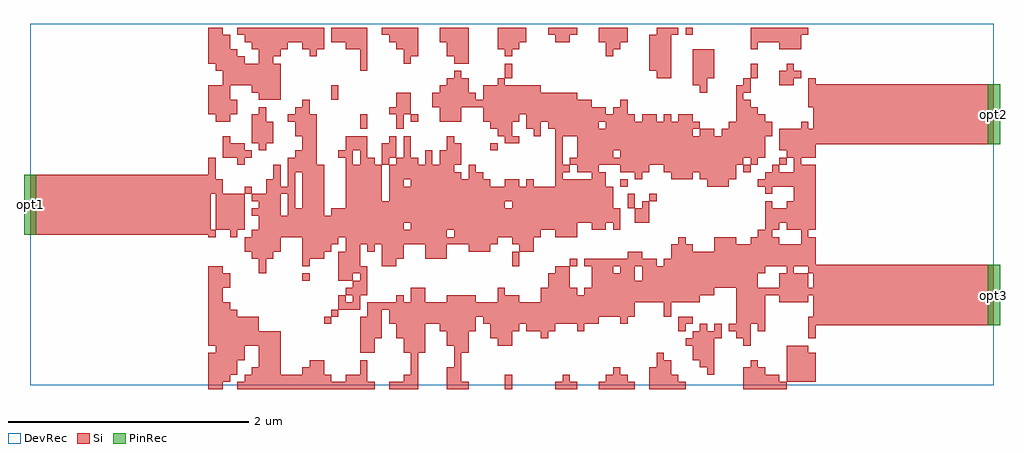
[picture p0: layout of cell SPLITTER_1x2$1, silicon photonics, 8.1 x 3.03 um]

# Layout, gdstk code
import gdstk
lib = gdstk.Library(unit=1e-6, precision=1e-09)
def R(c, l, rs):  # rectangles x0, y0, x1, y1
    for r in rs: c.add(gdstk.rectangle(r[:2], r[2:], *l))
def A(c, l, x, y, w, h, nx, ny, dx, dy):  # array of equal rectangles
    R(c, l, [(x+i*dx, y+j*dy, x+i*dx+w, y+j*dy+h) for i in range(nx) for j in range(ny)])
Si = (1, 0)
PinRec = (1, 10)
DevRec = (68, 0)

splitter_1x2_1 = lib.new_cell('SPLITTER_1x2$1')
A(splitter_1x2_1, Si, -2.28, -1.53, 0.06, 0.06, 19, 1, 0.06, 0)
A(splitter_1x2_1, Si, -1.02, -1.53, 0.06, 0.06, 4, 2, 0.06, 2.88)
A(splitter_1x2_1, Si, -0.54, -1.53, 0.06, 0.06, 3, 2, 0.06, 0.36)
A(splitter_1x2_1, Si, 0.36, -1.53, 0.06, 0.06, 3, 2, 0.06, 1.26)
A(splitter_1x2_1, Si, 0.72, -1.53, 0.06, 0.06, 5, 1, 0.06, 0)
A(splitter_1x2_1, Si, 1.14, -1.53, 0.06, 0.06, 5, 1, 0.06, 0)
A(splitter_1x2_1, Si, 1.92, -1.53, 0.06, 0.06, 6, 1, 0.06, 0)
A(splitter_1x2_1, Si, -2.52, -1.47, 0.06, 0.06, 3, 2, 0.06, 0.6)
A(splitter_1x2_1, Si, -2.22, -1.47, 0.06, 0.06, 12, 1, 0.06, 0)
A(splitter_1x2_1, Si, -1.38, -1.47, 0.06, 0.06, 3, 2, 0.06, 0.72)
A(splitter_1x2_1, Si, -0.84, -1.47, 0.06, 0.06, 1, 4, 0, 0.06)
A(splitter_1x2_1, Si, -0.48, -1.47, 0.06, 0.06, 1, 5, 0, 0.06)
A(splitter_1x2_1, Si, 0.78, -1.47, 0.06, 0.06, 3, 1, 0.06, 0)
A(splitter_1x2_1, Si, 1.14, -1.47, 0.06, 0.06, 4, 1, 0.06, 0)
A(splitter_1x2_1, Si, 1.92, -1.47, 0.06, 0.06, 5, 1, 0.06, 0)
A(splitter_1x2_1, Si, 2.28, -1.47, 0.06, 0.06, 4, 4, 0.06, 0.06)
A(splitter_1x2_1, Si, -2.52, -1.41, 0.06, 0.06, 4, 2, 0.06, 0.06)
A(splitter_1x2_1, Si, -2.16, -1.41, 0.06, 0.06, 4, 2, 0.06, 1.32)
A(splitter_1x2_1, Si, -1.74, -1.41, 0.06, 0.06, 3, 2, 0.06, 0.96)
A(splitter_1x2_1, Si, 1.14, -1.41, 0.06, 0.06, 3, 2, 0.06, 2.58)
A(splitter_1x2_1, Si, 1.92, -1.41, 0.06, 0.06, 3, 1, 0.06, 0)
A(splitter_1x2_1, Si, -2.1, -1.35, 0.06, 0.06, 3, 3, 0.06, 0.06)
A(splitter_1x2_1, Si, -2.52, -1.29, 0.06, 0.06, 5, 2, 0.06, 2.46)
A(splitter_1x2_1, Si, 1.5, -1.29, 0.06, 0.06, 3, 2, 0.06, 0.06)
A(splitter_1x2_1, Si, -2.46, -1.23, 0.06, 0.06, 4, 2, 0.06, 1.02)
A(splitter_1x2_1, Si, -0.9, -1.23, 0.06, 0.06, 3, 2, 0.06, 0.06)
A(splitter_1x2_1, Si, 2.28, -1.23, 0.06, 0.06, 3, 1, 0.06, 0)
A(splitter_1x2_1, Si, -2.52, -1.17, 0.06, 0.06, 10, 2, 0.06, 0.06)
A(splitter_1x2_1, Si, 1.44, -1.17, 0.06, 0.06, 4, 1, 0.06, 0)
A(splitter_1x2_1, Si, 1.92, -1.17, 0.06, 0.06, 1, 3, 0, 0.06)
A(splitter_1x2_1, Si, -1.26, -1.11, 0.06, 0.06, 3, 3, 0.06, 0.06)
A(splitter_1x2_1, Si, -0.96, -1.11, 0.06, 0.06, 4, 2, 0.06, 0.06)
A(splitter_1x2_1, Si, -0.54, -1.11, 0.06, 0.06, 3, 2, 0.06, 2.1)
A(splitter_1x2_1, Si, -0.18, -1.11, 0.06, 0.06, 3, 2, 0.06, 1.74)
A(splitter_1x2_1, Si, 1.5, -1.11, 0.06, 0.06, 4, 1, 0.06, 0)
A(splitter_1x2_1, Si, 2.46, -1.11, 0.06, 0.06, 1, 3, 0, 0.06)
A(splitter_1x2_1, Si, -2.52, -1.05, 0.06, 0.06, 7, 2, 0.06, 0.06)
A(splitter_1x2_1, Si, -0.6, -1.05, 0.06, 0.06, 5, 1, 0.06, 0)
A(splitter_1x2_1, Si, -0.18, -1.05, 0.06, 0.06, 4, 1, 0.06, 0)
A(splitter_1x2_1, Si, 0.12, -1.05, 0.06, 0.06, 4, 1, 0.06, 0)
A(splitter_1x2_1, Si, 1.56, -1.05, 0.06, 0.06, 3, 1, 0.12, 0)
A(splitter_1x2_1, Si, -1.02, -0.99, 0.06, 0.06, 12, 1, 0.06, 0)
A(splitter_1x2_1, Si, -0.24, -0.99, 0.06, 0.06, 16, 1, 0.06, 0)
A(splitter_1x2_1, Si, 1.86, -0.99, 0.06, 0.06, 4, 4, 0.06, 0.06)
A(splitter_1x2_1, Si, -2.52, -0.93, 0.06, 0.06, 4, 2, 0.06, 1.68)
A(splitter_1x2_1, Si, -1.02, -0.93, 0.06, 0.06, 34, 1, 0.06, 0)
A(splitter_1x2_1, Si, -1.44, -0.87, 0.06, 0.06, 3, 2, 0.06, 0.36)
A(splitter_1x2_1, Si, -1.2, -0.87, 0.06, 0.06, 37, 1, 0.06, 0)
A(splitter_1x2_1, Si, -0.54, -0.81, 0.06, 0.06, 4, 1, 0.06, 0)
A(splitter_1x2_1, Si, -0.12, -0.81, 0.06, 0.06, 3, 2, 0.06, 2.1)
A(splitter_1x2_1, Si, 0.24, -0.81, 0.06, 0.06, 22, 1, 0.06, 0)
A(splitter_1x2_1, Si, 2.22, -0.81, 0.06, 0.06, 4, 2, 0.06, 0.12)
A(splitter_1x2_1, Si, 0.24, -0.75, 0.06, 0.06, 5, 1, 0.06, 0)
A(splitter_1x2_1, Si, 0.6, -0.75, 0.06, 0.06, 18, 1, 0.06, 0)
A(splitter_1x2_1, Si, 1.86, -0.75, 0.06, 0.06, 11, 1, 0.06, 0)
A(splitter_1x2_1, Si, -2.52, -0.69, 0.06, 0.06, 3, 2, 0.06, 0.06)
A(splitter_1x2_1, Si, 0.3, -0.69, 0.06, 0.06, 3, 2, 0.06, 0.06)
A(splitter_1x2_1, Si, 0.66, -0.69, 0.06, 0.06, 23, 1, 0.06, 0)
A(splitter_1x2_1, Si, 0.66, -0.63, 0.06, 0.06, 6, 1, 0.06, 0)
A(splitter_1x2_1, Si, 1.08, -0.63, 0.06, 0.06, 16, 1, 0.06, 0)
A(splitter_1x2_1, Si, 2.22, -0.63, 0.06, 0.06, 4, 1, 0.06, 0)
A(splitter_1x2_1, Si, -1.44, -0.57, 0.06, 0.06, 4, 1, 0.06, 0)
A(splitter_1x2_1, Si, 0.66, -0.57, 0.06, 0.06, 3, 1, 0.06, 0)
A(splitter_1x2_1, Si, 1.08, -0.57, 0.06, 0.06, 17, 1, 0.06, 0)
A(splitter_1x2_1, Si, 0.6, -0.51, 0.06, 0.06, 10, 1, 0.06, 0)
A(splitter_1x2_1, Si, 1.26, -0.51, 0.06, 0.06, 21, 1, 0.06, 0)
A(splitter_1x2_1, Si, -2.16, -0.45, 0.06, 0.06, 3, 2, 0.06, 0.96)
A(splitter_1x2_1, Si, -1.44, -0.45, 0.06, 0.06, 3, 1, 0.06, 0)
A(splitter_1x2_1, Si, -1.08, -0.45, 0.06, 0.06, 3, 1, 0.06, 0)
A(splitter_1x2_1, Si, -0.72, -0.45, 0.06, 0.06, 3, 2, 0.06, 0.06)
A(splitter_1x2_1, Si, 1.32, -0.45, 0.06, 0.06, 20, 1, 0.06, 0)
A(splitter_1x2_1, Si, -2.22, -0.39, 0.06, 0.06, 5, 2, 0.06, 0.06)
A(splitter_1x2_1, Si, -1.74, -0.39, 0.06, 0.06, 4, 1, 0.06, 0)
A(splitter_1x2_1, Si, -1.32, -0.39, 0.06, 0.06, 3, 1, 0.12, 0)
A(splitter_1x2_1, Si, -0.36, -0.39, 0.06, 0.06, 3, 1, 0.06, 0)
A(splitter_1x2_1, Si, 1.32, -0.39, 0.06, 0.06, 3, 1, 0.06, 0)
A(splitter_1x2_1, Si, 1.68, -0.39, 0.06, 0.06, 14, 1, 0.06, 0)
A(splitter_1x2_1, Si, -1.74, -0.33, 0.06, 0.06, 5, 1, 0.06, 0)
A(splitter_1x2_1, Si, -1.38, -0.33, 0.06, 0.06, 21, 1, 0.06, 0)
A(splitter_1x2_1, Si, 0, -0.33, 0.06, 0.06, 3, 1, 0.06, 0)
A(splitter_1x2_1, Si, 1.68, -0.33, 0.06, 0.06, 3, 1, 0.06, 0)
A(splitter_1x2_1, Si, 1.98, -0.33, 0.06, 0.06, 4, 1, 0.06, 0)
A(splitter_1x2_1, Si, -2.52, -0.27, 0.06, 0.06, 3, 1, 0.18, 0)
A(splitter_1x2_1, Si, -2.1, -0.27, 0.06, 0.06, 26, 1, 0.06, 0)
A(splitter_1x2_1, Si, -0.48, -0.27, 0.06, 0.06, 12, 1, 0.06, 0)
A(splitter_1x2_1, Si, -2.1, -0.21, 0.06, 0.06, 20, 1, 0.06, 0)
A(splitter_1x2_1, Si, -0.84, -0.21, 0.06, 0.06, 23, 1, 0.06, 0)
A(splitter_1x2_1, Si, 2.28, -0.21, 0.06, 0.06, 4, 2, 0.06, 0.18)
A(splitter_1x2_1, Si, -2.46, -0.15, 0.06, 0.06, 4, 4, 0.06, 0.06)
A(splitter_1x2_1, Si, -2.1, -0.15, 0.06, 0.06, 50, 1, 0.06, 0)
A(splitter_1x2_1, Si, 1.08, -0.15, 0.06, 0.06, 1, 3, 0, 0.06)
A(splitter_1x2_1, Si, 2.1, -0.15, 0.06, 0.06, 7, 2, 0.06, 0.06)
A(splitter_1x2_1, Si, -1.86, -0.09, 0.06, 0.06, 5, 2, 0.06, 0.36)
A(splitter_1x2_1, Si, -1.5, -0.09, 0.06, 0.06, 40, 1, 0.06, 0)
A(splitter_1x2_1, Si, -2.1, -0.03, 0.06, 0.06, 3, 2, 0.06, 0.9)
A(splitter_1x2_1, Si, -1.74, -0.03, 0.06, 0.06, 3, 3, 0.06, 0.06)
A(splitter_1x2_1, Si, -1.38, -0.03, 0.06, 0.06, 22, 1, 0.06, 0)
A(splitter_1x2_1, Si, 0, -0.03, 0.06, 0.06, 14, 1, 0.06, 0)
A(splitter_1x2_1, Si, -2.16, 0.03, 0.06, 0.06, 4, 2, 0.06, 0.9)
A(splitter_1x2_1, Si, -1.38, 0.03, 0.06, 0.06, 5, 5, 0.06, 0.06)
A(splitter_1x2_1, Si, -1.02, 0.03, 0.06, 0.06, 31, 2, 0.06, 0.06)
A(splitter_1x2_1, Si, 2.34, 0.03, 0.06, 0.06, 3, 2, 0.06, 0.06)
A(splitter_1x2_1, Si, -2.52, 0.09, 0.06, 0.06, 1, 5, 0, 0.06)
A(splitter_1x2_1, Si, -2.04, 0.09, 0.06, 0.06, 4, 1, 0.06, 0)
A(splitter_1x2_1, Si, -1.98, 0.15, 0.06, 0.06, 3, 2, 0.12, 0.06)
A(splitter_1x2_1, Si, -0.84, 0.15, 0.06, 0.06, 11, 1, 0.06, 0)
A(splitter_1x2_1, Si, 0.36, 0.15, 0.06, 0.06, 7, 1, 0.06, 0)
A(splitter_1x2_1, Si, 1.62, 0.15, 0.06, 0.06, 3, 1, 0.06, 0)
A(splitter_1x2_1, Si, 2.04, 0.15, 0.06, 0.06, 8, 1, 0.06, 0)
A(splitter_1x2_1, Si, -1.02, 0.21, 0.06, 0.06, 10, 1, 0.06, 0)
A(splitter_1x2_1, Si, 0.36, 0.21, 0.06, 0.06, 1, 6, 0, 0.06)
A(splitter_1x2_1, Si, 0.72, 0.21, 0.06, 0.06, 3, 1, 0.3, 0)
A(splitter_1x2_1, Si, 1.56, 0.21, 0.06, 0.06, 5, 1, 0.06, 0)
A(splitter_1x2_1, Si, 2.1, 0.21, 0.06, 0.06, 7, 1, 0.06, 0)
A(splitter_1x2_1, Si, -1.02, 0.27, 0.06, 0.06, 9, 1, 0.06, 0)
A(splitter_1x2_1, Si, 0.54, 0.27, 0.06, 0.06, 3, 1, 0.06, 0)
A(splitter_1x2_1, Si, 0.9, 0.27, 0.06, 0.06, 4, 1, 0.06, 0)
A(splitter_1x2_1, Si, 1.26, 0.27, 0.06, 0.06, 10, 1, 0.06, 0)
A(splitter_1x2_1, Si, 2.34, 0.27, 0.06, 0.06, 3, 1, 0.06, 0)
A(splitter_1x2_1, Si, -1.86, 0.33, 0.06, 0.06, 4, 2, 0.06, 0.36)
A(splitter_1x2_1, Si, -1.2, 0.33, 0.06, 0.06, 3, 1, 0.12, 0)
A(splitter_1x2_1, Si, -0.9, 0.33, 0.06, 0.06, 1, 4, 0, 0.06)
A(splitter_1x2_1, Si, -0.84, 0.33, 0.06, 0.06, 3, 1, 0.12, 0)
A(splitter_1x2_1, Si, 0.48, 0.33, 0.06, 0.06, 24, 1, 0.06, 0)
A(splitter_1x2_1, Si, -2.4, 0.39, 0.06, 0.06, 4, 1, 0.06, 0)
A(splitter_1x2_1, Si, -1.8, 0.39, 0.06, 0.06, 3, 2, 0.06, 0.18)
A(splitter_1x2_1, Si, -1.02, 0.39, 0.06, 0.06, 1, 3, 0, 0.06)
A(splitter_1x2_1, Si, -0.6, 0.39, 0.06, 0.06, 3, 2, 0.06, 0.3)
A(splitter_1x2_1, Si, 0.54, 0.39, 0.06, 0.06, 5, 1, 0.06, 0)
A(splitter_1x2_1, Si, 0.9, 0.39, 0.06, 0.06, 20, 1, 0.06, 0)
A(splitter_1x2_1, Si, 2.28, 0.39, 0.06, 0.06, 4, 1, 0.06, 0)
A(splitter_1x2_1, Si, -2.4, 0.45, 0.06, 0.06, 3, 1, 0.06, 0)
A(splitter_1x2_1, Si, -1.38, 0.45, 0.06, 0.06, 3, 2, 0.06, 0.06)
A(splitter_1x2_1, Si, 0.54, 0.45, 0.06, 0.06, 26, 2, 0.06, 0.06)
A(splitter_1x2_1, Si, 2.22, 0.45, 0.06, 0.06, 5, 3, 0.06, 0.06)
A(splitter_1x2_1, Si, -2.16, 0.57, 0.06, 0.06, 3, 2, 0.06, 0.06)
A(splitter_1x2_1, Si, 0.36, 0.57, 0.06, 0.06, 19, 1, 0.06, 0)
A(splitter_1x2_1, Si, 1.74, 0.57, 0.06, 0.06, 7, 1, 0.06, 0)
A(splitter_1x2_1, Si, -1.8, 0.63, 0.06, 0.06, 3, 1, 0.06, 0)
A(splitter_1x2_1, Si, 0.3, 0.63, 0.06, 0.06, 7, 1, 0.06, 0)
A(splitter_1x2_1, Si, 0.78, 0.63, 0.06, 0.06, 13, 1, 0.06, 0)
A(splitter_1x2_1, Si, 1.8, 0.63, 0.06, 0.06, 6, 1, 0.06, 0)
A(splitter_1x2_1, Si, -0.24, 0.69, 0.06, 0.06, 5, 1, 0.06, 0)
A(splitter_1x2_1, Si, 0.12, 0.69, 0.06, 0.06, 15, 1, 0.06, 0)
A(splitter_1x2_1, Si, 1.14, 0.69, 0.06, 0.06, 3, 1, 0.12, 0)
A(splitter_1x2_1, Si, 1.86, 0.69, 0.06, 0.06, 4, 1, 0.06, 0)
A(splitter_1x2_1, Si, -1.02, 0.75, 0.06, 0.06, 3, 1, 0.06, 0)
A(splitter_1x2_1, Si, -0.6, 0.75, 0.06, 0.06, 3, 1, 0.06, 0)
A(splitter_1x2_1, Si, -0.24, 0.75, 0.06, 0.06, 17, 1, 0.06, 0)
A(splitter_1x2_1, Si, 1.86, 0.75, 0.06, 0.06, 3, 1, 0.06, 0)
A(splitter_1x2_1, Si, -2.52, 0.81, 0.06, 0.06, 4, 2, 0.06, 0.42)
A(splitter_1x2_1, Si, -0.66, 0.81, 0.06, 0.06, 22, 1, 0.06, 0)
A(splitter_1x2_1, Si, 1.86, 0.81, 0.06, 0.06, 1, 3, 0, 0.06)
A(splitter_1x2_1, Si, 2.46, 0.81, 0.06, 0.06, 1, 4, 0, 0.06)
A(splitter_1x2_1, Si, -2.52, 0.87, 0.06, 0.06, 3, 2, 0.06, 0.06)
A(splitter_1x2_1, Si, -0.66, 0.87, 0.06, 0.06, 6, 1, 0.06, 0)
A(splitter_1x2_1, Si, -0.24, 0.87, 0.06, 0.06, 13, 1, 0.06, 0)
A(splitter_1x2_1, Si, -0.6, 0.93, 0.06, 0.06, 4, 2, 0.06, 0.42)
A(splitter_1x2_1, Si, -0.24, 0.93, 0.06, 0.06, 8, 1, 0.06, 0)
A(splitter_1x2_1, Si, -2.4, 0.99, 0.06, 0.06, 8, 2, 0.06, 0.06)
A(splitter_1x2_1, Si, 1.5, 1.05, 0.06, 0.06, 3, 4, 0.06, 0.06)
A(splitter_1x2_1, Si, 2.22, 1.05, 0.06, 0.06, 3, 2, 0.06, 0.24)
A(splitter_1x2_1, Si, -2.46, 1.11, 0.06, 0.06, 9, 1, 0.06, 0)
A(splitter_1x2_1, Si, -1.26, 1.11, 0.06, 0.06, 3, 1, 1.2, 0)
A(splitter_1x2_1, Si, -2.1, 1.23, 0.06, 0.06, 3, 1, 0.06, 0)
A(splitter_1x2_1, Si, -0.54, 1.23, 0.06, 0.06, 3, 2, 0.06, 0.06)
A(splitter_1x2_1, Si, 1.14, 1.23, 0.06, 0.06, 3, 3, 0.06, 0.06)
A(splitter_1x2_1, Si, -2.52, 1.29, 0.06, 0.06, 3, 2, 0.06, 0.06)
A(splitter_1x2_1, Si, -2.16, 1.29, 0.06, 0.06, 5, 1, 0.06, 0)
A(splitter_1x2_1, Si, -1.74, 1.29, 0.06, 0.06, 3, 1, 0.06, 0)
A(splitter_1x2_1, Si, -1.38, 1.29, 0.06, 0.06, 3, 1, 0.06, 0)
A(splitter_1x2_1, Si, -0.96, 1.29, 0.06, 0.06, 3, 1, 0.06, 0)
A(splitter_1x2_1, Si, -2.22, 1.35, 0.06, 0.06, 11, 1, 0.06, 0)
A(splitter_1x2_1, Si, -1.5, 1.35, 0.06, 0.06, 5, 2, 0.06, 0.06)
A(splitter_1x2_1, Si, -0.12, 1.35, 0.06, 0.06, 4, 2, 0.06, 0.06)
A(splitter_1x2_1, Si, 0.72, 1.35, 0.06, 0.06, 4, 2, 0.06, 0.06)
A(splitter_1x2_1, Si, 1.98, 1.35, 0.06, 0.06, 7, 1, 0.06, 0)
A(splitter_1x2_1, Si, -2.28, 1.41, 0.06, 0.06, 12, 1, 0.06, 0)
A(splitter_1x2_1, Si, -1.08, 1.41, 0.06, 0.06, 5, 1, 0.06, 0)
A(splitter_1x2_1, Si, -0.6, 1.41, 0.06, 0.06, 4, 1, 0.06, 0)
A(splitter_1x2_1, Si, 0.3, 1.41, 0.06, 0.06, 4, 1, 0.06, 0)
A(splitter_1x2_1, Si, 1.2, 1.41, 0.06, 0.06, 3, 1, 0.06, 0)
A(splitter_1x2_1, Si, 1.98, 1.41, 0.06, 0.06, 8, 1, 0.06, 0)
R(splitter_1x2_1, Si, [(-2.52,-1.53,-2.46,-1.47), (-2.46,-1.53,-2.4,-1.47), (-0.06,-1.53,0,-1.47), (-0.9,-1.47,-0.84,-1.41), (-0.54,-1.47,-0.48,-1.41), (-0.06,-1.47,0,-1.41), (0.42,-1.47,0.48,-1.41), (-1.26,-1.41,-1.2,-1.35), (-0.54,-1.41,-0.48,-1.35), (0.84,-1.41,0.9,-1.35), (1.62,-1.41,1.68,-1.35), (-1.68,-1.35,-1.62,-1.29), (-1.62,-1.35,-1.56,-1.29), (-1.26,-1.35,-1.2,-1.29), (1.2,-1.35,1.26,-1.29), (1.26,-1.35,1.32,-1.29), (1.56,-1.35,1.62,-1.29), (1.62,-1.35,1.68,-1.29), (1.98,-1.35,2.04,-1.29), (1.2,-1.29,1.26,-1.23), (-1.26,-1.23,-1.2,-1.17), (-1.2,-1.23,-1.14,-1.17), (-0.42,-1.23,-0.36,-1.17), (-1.26,-1.17,-1.2,-1.11), (-1.2,-1.17,-1.14,-1.11), (-0.12,-1.17,-0.06,-1.11), (-0.06,-1.17,0,-1.11), (0.24,-1.11,0.3,-1.05), (1.86,-1.11,1.92,-1.05), (0.54,-1.05,0.6,-0.99), (1.38,-1.05,1.44,-0.99), (1.86,-1.05,1.92,-0.99), (2.04,-1.05,2.1,-0.99), (2.5,-1,4,-0.5), (-1.56,-0.99,-1.5,-0.93), (0.9,-0.99,0.96,-0.93), (1.38,-0.99,1.44,-0.93), (1.44,-0.99,1.5,-0.93), (-1.5,-0.93,-1.44,-0.87), (-1.2,-0.93,-1.14,-0.87), (-1.14,-0.93,-1.08,-0.87), (1.26,-0.93,1.32,-0.87), (1.26,-0.87,1.32,-0.81), (-2.52,-0.81,-2.46,-0.75), (-2.46,-0.81,-2.4,-0.75), (-1.44,-0.81,-1.38,-0.75), (-1.32,-0.81,-1.26,-0.75), (-0.96,-0.81,-0.9,-0.75), (-0.84,-0.81,-0.78,-0.75), (-0.78,-0.81,-0.72,-0.75), (-2.52,-0.75,-2.46,-0.69), (-2.46,-0.75,-2.4,-0.69), (-0.84,-0.75,-0.78,-0.69), (-0.78,-0.75,-0.72,-0.69), (-0.12,-0.75,-0.06,-0.69), (-1.32,-0.69,-1.26,-0.63), (-1.26,-0.69,-1.2,-0.63), (-1.74,-0.63,-1.68,-0.57), (-1.44,-0.63,-1.38,-0.57), (-1.38,-0.63,-1.32,-0.57), (-1.26,-0.63,-1.2,-0.57), (-2.52,-0.57,-2.46,-0.51), (-2.46,-0.57,-2.4,-0.51), (-2.1,-0.57,-2.04,-0.51), (0.36,-0.57,0.42,-0.51), (0.42,-0.57,0.48,-0.51), (0.9,-0.57,0.96,-0.51), (0.96,-0.57,1.02,-0.51), (2.28,-0.57,2.34,-0.51), (2.46,-0.57,2.52,-0.51), (-2.1,-0.51,-2.04,-0.45), (-1.74,-0.51,-1.68,-0.45), (-1.08,-0.51,-1.02,-0.45), (-1.02,-0.51,-0.96,-0.45), (0,-0.51,0.06,-0.45), (0.48,-0.51,0.54,-0.45), (0,-0.45,0.06,-0.39), (0.96,-0.45,1.02,-0.39), (1.02,-0.45,1.08,-0.39), (-1.38,-0.39,-1.32,-0.33), (-1.02,-0.39,-0.96,-0.33), (-0.96,-0.39,-0.9,-0.33), (0.06,-0.39,0.12,-0.33), (0.12,-0.39,0.18,-0.33), (1.38,-0.33,1.44,-0.27), (2.4,-0.33,2.46,-0.27), (2.46,-0.33,2.52,-0.27), (2.04,-0.27,2.1,-0.21), (2.1,-0.27,2.16,-0.21), (2.4,-0.27,2.46,-0.21), (-4,-0.25,-2.5,0.25), (0.66,-0.21,0.72,-0.15), (0.72,-0.21,0.78,-0.15), (0.84,-0.21,0.9,-0.15), (2.1,-0.21,2.16,-0.15), (2.16,-0.21,2.22,-0.15), (1.02,-0.15,1.08,-0.09), (1.02,-0.09,1.08,-0.03), (-1.86,-0.03,-1.8,0.03), (0.96,-0.03,1.02,0.03), (2.1,-0.03,2.16,0.03), (-1.86,0.03,-1.8,0.09), (0.96,0.03,1.02,0.09), (1.14,0.03,1.2,0.09), (-2.46,0.09,-2.4,0.15), (-2.22,0.09,-2.16,0.15), (2.1,0.09,2.16,0.15), (-2.46,0.15,-2.4,0.21), (-2.04,0.15,-1.98,0.21), (-1.68,0.15,-1.62,0.21), (-1.62,0.15,-1.56,0.21), (-1.02,0.15,-0.96,0.21), (-0.96,0.15,-0.9,0.21), (-0.06,0.15,0,0.21), (0,0.15,0.06,0.21), (0.12,0.15,0.18,0.21), (0.9,0.15,0.96,0.21), (-1.68,0.21,-1.62,0.27), (-1.62,0.21,-1.56,0.27), (-0.36,0.21,-0.3,0.27), (-0.3,0.21,-0.24,0.27), (0.66,0.21,0.72,0.27), (1.38,0.21,1.44,0.27), (1.44,0.21,1.5,0.27), (-1.98,0.27,-1.92,0.33), (-0.36,0.27,-0.3,0.33), (0.42,0.27,0.48,0.33), (1.92,0.27,1.98,0.33), (2.16,0.27,2.22,0.33), (-2.28,0.33,-2.22,0.39), (-1.38,0.33,-1.32,0.39), (-1.26,0.33,-1.2,0.39), (-0.54,0.33,-0.48,0.39), (-0.48,0.33,-0.42,0.39), (1.98,0.33,2.04,0.39), (2.22,0.33,2.28,0.39), (2.34,0.33,2.4,0.39), (-1.44,0.39,-1.38,0.45), (-1.38,0.39,-1.32,0.45), (-1.26,0.39,-1.2,0.45), (-1.08,0.39,-1.02,0.45), (-0.72,0.39,-0.66,0.45), (-2.1,0.45,-2.04,0.51), (-1.74,0.45,-1.68,0.51), (-1.68,0.45,-1.62,0.51), (-1.08,0.45,-1.02,0.51), (-0.54,0.45,-0.48,0.51), (-0.48,0.45,-0.42,0.51), (-0.18,0.45,-0.12,0.51), (2.5,0.5,4,1), (-2.4,0.51,-2.34,0.57), (-1.74,0.51,-1.68,0.57), (-1.68,0.51,-1.62,0.57), (-0.54,0.51,-0.48,0.57), (-0.06,0.51,0,0.57), (0,0.51,0.06,0.57), (-0.12,0.57,-0.06,0.63), (-0.06,0.57,0,0.63), (0.18,0.57,0.24,0.63), (1.56,0.57,1.62,0.63), (1.62,0.57,1.68,0.63), (-1.26,0.63,-1.2,0.69), (-0.96,0.63,-0.9,0.69), (0.12,0.63,0.18,0.69), (0.18,0.63,0.24,0.69), (2.4,0.63,2.46,0.69), (-2.46,0.69,-2.4,0.75), (-2.4,0.69,-2.34,0.75), (-2.16,0.69,-2.1,0.75), (-2.1,0.69,-2.04,0.75), (-1.26,0.69,-1.2,0.75), (-0.96,0.69,-0.9,0.75), (-0.84,0.69,-0.78,0.75), (1.08,0.69,1.14,0.75), (1.44,0.69,1.5,0.75), (-2.1,0.75,-2.04,0.81), (-1.8,0.75,-1.74,0.81), (-1.74,0.75,-1.68,0.81), (0.84,0.75,0.9,0.81), (0.9,0.75,0.96,0.81), (-1.74,0.81,-1.68,0.87), (-0.96,0.81,-0.9,0.87), (-0.9,0.81,-0.84,0.87), (0.9,0.81,0.96,0.87), (1.92,0.81,1.98,0.87), (-1.5,0.87,-1.44,0.93), (-0.96,0.87,-0.9,0.93), (-0.9,0.87,-0.84,0.93), (-1.5,0.93,-1.44,0.99), (1.56,0.93,1.62,0.99), (1.92,0.93,1.98,0.99), (-0.12,0.99,-0.06,1.05), (1.5,0.99,1.56,1.05), (1.56,0.99,1.62,1.05), (1.92,0.99,1.98,1.05), (2.22,0.99,2.28,1.05), (2.28,0.99,2.34,1.05), (-0.48,1.05,-0.42,1.11), (-0.06,1.05,0,1.11), (1.2,1.05,1.26,1.11), (1.26,1.05,1.32,1.11), (1.98,1.05,2.04,1.11), (1.2,1.11,1.26,1.17), (1.26,1.11,1.32,1.17), (1.98,1.11,2.04,1.17), (2.28,1.11,2.34,1.17), (-2.1,1.17,-2.04,1.23), (-2.04,1.17,-1.98,1.23), (-1.26,1.17,-1.2,1.23), (-0.9,1.17,-0.84,1.23), (-0.48,1.17,-0.42,1.23), (-0.42,1.17,-0.36,1.23), (-1.68,1.23,-1.62,1.29), (-1.26,1.23,-1.2,1.29), (-0.9,1.23,-0.84,1.29), (-0.84,1.23,-0.78,1.29), (-0.06,1.23,0,1.29), (0.78,1.23,0.84,1.29), (0.78,1.29,0.84,1.35), (0.84,1.29,0.9,1.35), (1.98,1.29,2.04,1.35), (0.36,1.35,0.42,1.41), (0.42,1.35,0.48,1.41), (-2.52,1.41,-2.46,1.47), (-2.46,1.41,-2.4,1.47), (1.44,1.41,1.5,1.47)])
R(splitter_1x2_1, DevRec, [(-4,-1.5,4,1.5)])
splitter_1x2_1.add(gdstk.FlexPath([(-3.95,0),(-4.05,0)], 0.5, ends="flush", simple_path=True, layer=1, datatype=10))  # PinRec
splitter_1x2_1.add(gdstk.FlexPath([(3.95,0.75),(4.05,0.75)], 0.5, ends="flush", simple_path=True, layer=1, datatype=10))  # PinRec
splitter_1x2_1.add(gdstk.FlexPath([(3.95,-0.75),(4.05,-0.75)], 0.5, ends="flush", simple_path=True, layer=1, datatype=10))  # PinRec
splitter_1x2_1.add(gdstk.Label('SPLITTER_INVDES', (-4,2), layer=10, texttype=0))
splitter_1x2_1.add(gdstk.Label('opt1', (-4,0), layer=1, texttype=10))
splitter_1x2_1.add(gdstk.Label('opt2', (4,0.75), layer=1, texttype=10))
splitter_1x2_1.add(gdstk.Label('opt3', (4,-0.75), layer=1, texttype=10))

lib.write_gds('SPLITTER_1x2_1.gds')
